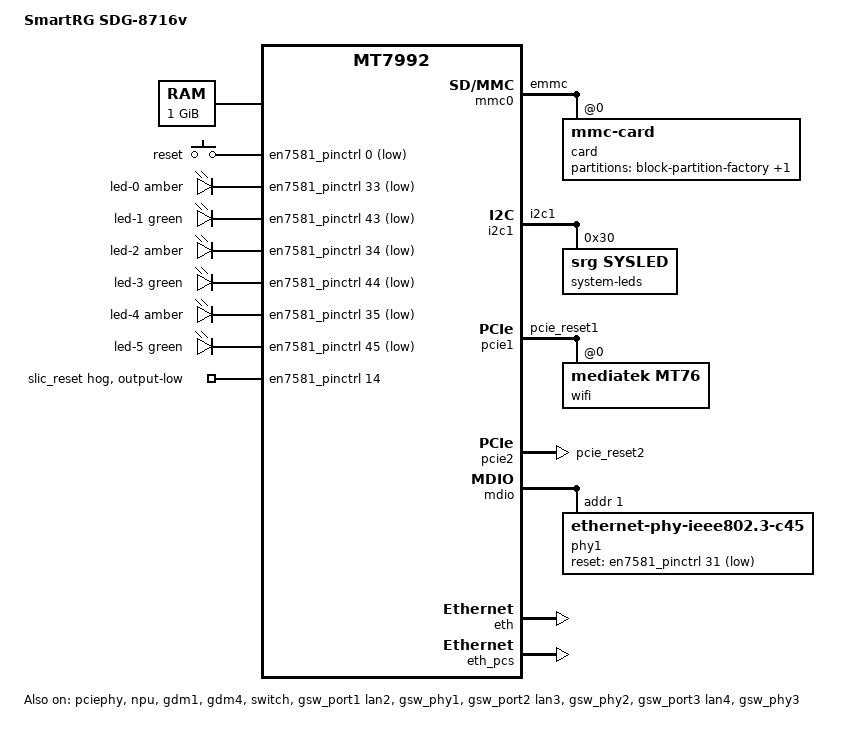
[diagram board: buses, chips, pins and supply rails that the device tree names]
// SPDX-License-Identifier: (GPL-2.0-only OR BSD-2-Clause)
/dts-v1/;

/* Bootloader installs ATF here */
/memreserve/ 0x80000000 0x200000;

#include <dt-bindings/leds/common.h>
#include <dt-bindings/gpio/gpio.h>
#include <dt-bindings/input/input.h>
#include "an7581.dtsi"
#include "an7581-npu-mt7992.dtsi"

/ {
	model = "SmartRG SDG-8716v";
	compatible = "smartrg,sdg-8716v", "airoha,an7581", "airoha,en7581";

	aliases {
		serial0 = &uart1;
		led-boot = &led_sys_green;
		led-failsafe = &led_sys_blue;
		led-running = &led_sys_white;
		led-upgrade = &led_sys_red;
	};

	chosen {
		bootargs = "console=ttyS0,115200n1 root=PARTLABEL=rootfs";
		stdout-path = "serial0:115200n8";
	};

	memory@80000000 {
		device_type = "memory";
		reg = <0x0 0x80000000 0x0 0x40000000>;
	};

	gpio-keys {
		compatible = "gpio-keys";

		button-reset {
			label = "reset";
			linux,code = <KEY_RESTART>;
			gpios = <&en7581_pinctrl 0 GPIO_ACTIVE_LOW>;
		};
	};

	leds {
		compatible = "gpio-leds";

		led-0 {
			color = <LED_COLOR_ID_AMBER>;
			function = LED_FUNCTION_LAN;
			function-enumerator = <2>;
			gpios = <&en7581_pinctrl 33 GPIO_ACTIVE_LOW>;
		};

		led-1 {
			color = <LED_COLOR_ID_GREEN>;
			function = LED_FUNCTION_LAN;
			function-enumerator = <2>;
			gpios = <&en7581_pinctrl 43 GPIO_ACTIVE_LOW>;
		};

		led-2 {
			color = <LED_COLOR_ID_AMBER>;
			function = LED_FUNCTION_LAN;
			function-enumerator = <3>;
			gpios = <&en7581_pinctrl 34 GPIO_ACTIVE_LOW>;
		};

		led-3 {
			color = <LED_COLOR_ID_GREEN>;
			function = LED_FUNCTION_LAN;
			function-enumerator = <3>;
			gpios = <&en7581_pinctrl 44 GPIO_ACTIVE_LOW>;
		};

		led-4 {
			color = <LED_COLOR_ID_AMBER>;
			function = LED_FUNCTION_LAN;
			function-enumerator = <4>;
			gpios = <&en7581_pinctrl 35 GPIO_ACTIVE_LOW>;
		};

		led-5 {
			color = <LED_COLOR_ID_GREEN>;
			function = LED_FUNCTION_LAN;
			function-enumerator = <4>;
			gpios = <&en7581_pinctrl 45 GPIO_ACTIVE_LOW>;
		};
	};
};

&en7581_pinctrl {
	gpio-ranges = <&en7581_pinctrl 0 13 50>;

	/* Keep the Si32184 SLIC in reset; its FXS line is not supported. */
	slic-reset-hog {
		gpio-hog;
		gpios = <14 GPIO_ACTIVE_HIGH>;
		output-low;
		line-name = "slic_reset";
	};

	mdio_pins: mdio-pins {
		mux {
			function = "mdio";
			groups = "mdio";
		};

		conf {
			pins = "gpio2";
			output-high;
		};
	};

	i2c1_pins: i2c1-pins {
		mux {
			function = "i2c";
			groups = "i2c1";
		};
	};

	pcie1_rst_pins: pcie1-rst-pins {
		conf {
			pins = "pcie_reset1";
			drive-open-drain = <1>;
		};
	};

	pcie2_rst_pins: pcie2-rst-pins {
		conf {
			pins = "pcie_reset2";
			drive-open-drain = <1>;
		};
	};

	mmc_pins: mmc-pins {
		mux {
			function = "emmc";
			groups = "emmc";
		};
	};
};

&usb1 {
	status = "disabled";

	mediatek,u3p-dis-msk = <0x1>;
	phys = <&usb1_phy PHY_TYPE_USB2>;
};

&mmc0 {
	pinctrl-names = "default", "state_uhs";
	pinctrl-0 = <&mmc_pins>;
	pinctrl-1 = <&mmc_pins>;
	status = "okay";

	#address-cells = <1>;
	#size-cells = <0>;

	card@0 {
		compatible = "mmc-card";
		reg = <0>;

		partitions {
			compatible = "gpt-partitions";

			block-partition-factory {
				partname = "factory";

				nvmem-layout {
					compatible = "fixed-layout";
					#address-cells = <1>;
					#size-cells = <1>;

					eeprom_factory_0: eeprom@0 {
						reg = <0x0 0x1e00>;
					};
				};
			};

			block-partition-mfginfo {
				partname = "mfginfo";

				nvmem-layout {
					compatible = "adtran,mfginfo";

					macaddr: mfg-mac {
						#nvmem-cell-cells = <1>;
					};
				};
			};
		};
	};
};

&i2c1 {
	pinctrl-names = "default";
	pinctrl-0 = <&i2c1_pins>;
	status = "okay";

	system-leds@30 {
		compatible = "srg,sysled";
		reg = <0x30>;
		#address-cells = <1>;
		#size-cells = <0>;

		led_sys_red: led@1 {
			label = "red";
			reg = <1>;
		};

		led_sys_green: led@2 {
			label = "green";
			reg = <2>;
		};

		led_sys_blue: led@3 {
			label = "blue";
			reg = <3>;
		};

		led_sys_white: led@4 {
			label = "white";
			reg = <4>;
		};
	};
};

&pciephy {
	status = "okay";
};

&pcie1 {
	pinctrl-names = "default";
	pinctrl-0 = <&pcie1_rst_pins>;
	status = "okay";

	pcie@0,0 {
		reg = <0x0000 0 0 0 0>;
		#address-cells = <3>;
		#size-cells = <2>;

		wifi@0,0 {
			compatible = "mediatek,mt76";
			reg = <0x0000 0 0 0 0>;
			#address-cells = <1>;
			#size-cells = <0>;

			nvmem-cells = <&eeprom_factory_0>;
			nvmem-cell-names = "eeprom";

			airoha,npu = <&npu>;
			airoha,eth = <&eth>;

			ieee80211-freq-limit = <2400000 2500000>, <5170000 5835000>;

			band@0 {
				/* 2.4 GHz */
				reg = <0>;
				nvmem-cells = <&macaddr 0x4>;
				nvmem-cell-names = "mac-address";
			};

			band@1 {
				/* 5 GHz */
				reg = <1>;
				nvmem-cells = <&macaddr 0xa>;
				nvmem-cell-names = "mac-address";
			};
		};
	};
};

/*
 * pcie2 carries the second host interface of the same MT7992. mt76 pairs
 * it with the primary at the PCI level (device id 0x799a), so no wifi child
 * node belongs here. The USB3 lane of usb1_phy is routed to this controller.
 */
&pcie2 {
	pinctrl-names = "default";
	pinctrl-0 = <&pcie2_rst_pins>;
	status = "okay";
};

&mdio {
	phy1: ethernet-phy@1 {
		/* Realtek RTL8261C/D - LAN1 */
		compatible = "ethernet-phy-ieee802.3-c45";
		reg = <0x1>;
		#thermal-sensor-cells = <0>;

		reset-gpios = <&en7581_pinctrl 31 GPIO_ACTIVE_LOW>;
		reset-assert-us = <40000>;
		reset-deassert-us = <150000>;

		leds {
			#address-cells = <1>;
			#size-cells = <0>;

			led@0 {
				reg = <0>;
				color = <LED_COLOR_ID_WHITE>;
				function = LED_FUNCTION_LAN;
				function-enumerator = <1>;
			};

			led@1 {
				reg = <1>;
				color = <LED_COLOR_ID_ORANGE>;
				function = LED_FUNCTION_LAN;
				function-enumerator = <1>;
			};

			led@3 {
				reg = <3>;
				color = <LED_COLOR_ID_GREEN>;
				function = LED_FUNCTION_LAN;
				function-enumerator = <1>;
			};
		};
	};
};

&npu {
	status = "okay";
};

&eth {
	status = "okay";
};

&gdm1 {
	openwrt,netdev-name = "dsa0";

	nvmem-cells = <&macaddr 0x0>;
	nvmem-cell-names = "mac-address";

	status = "okay";
};

&gdm4 {
	openwrt,netdev-name = "lan1";
	phy-handle = <&phy1>;
	phy-mode = "usxgmii";
	managed = "in-band-status";

	nvmem-cells = <&macaddr 0x1>;
	nvmem-cell-names = "mac-address";

	status = "okay";
};

&eth_pcs {
	status = "okay";
};

&switch {
	pinctrl-names = "default";
	pinctrl-0 = <&mdio_pins>;
	status = "okay";
};

&gsw_port1 {
	label = "lan2";
	status = "okay";
};

&gsw_phy1 {
	status = "okay";
};

&gsw_port2 {
	label = "lan3";
	status = "okay";
};

&gsw_phy2 {
	status = "okay";
};

&gsw_port3 {
	label = "lan4";
	status = "okay";
};

&gsw_phy3 {
	status = "okay";
};
